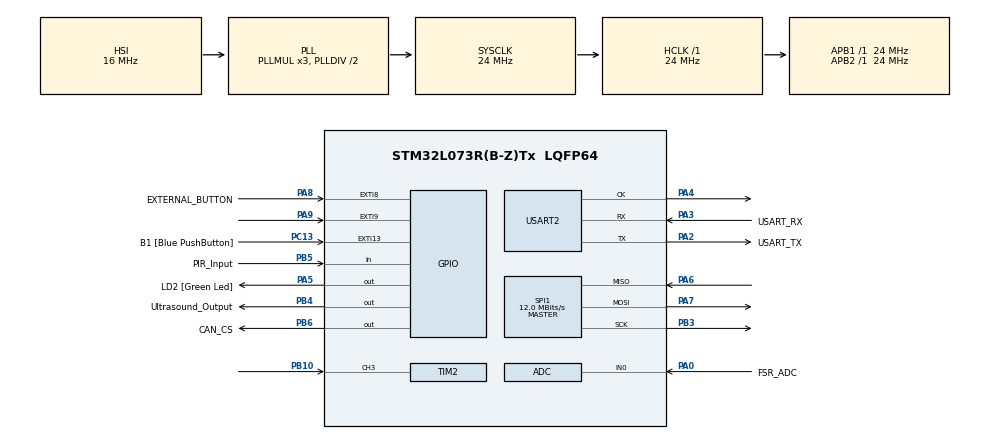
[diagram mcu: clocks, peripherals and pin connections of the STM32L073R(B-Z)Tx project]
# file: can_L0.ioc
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Mcu.Family=STM32L0
Mcu.Name=STM32L073R(B-Z)Tx
Mcu.Package=LQFP64
NVIC.EXTI4_15_IRQn=true\:0\:0\:false\:false\:true\:true\:true\:true
NVIC.TIM2_IRQn=true\:0\:0\:false\:false\:true\:true\:true\:true
NVIC.TIM3_IRQn=true\:0\:0\:false\:false\:true\:true\:true\:true
PA0.GPIO_Label=FSR_ADC
PA0.Mode=IN0
PA0.Signal=ADC_IN0
PA13.GPIO_Label=TMS
PA13.Mode=Serial_Wire
PA13.Signal=SYS_SWDIO
PA14.GPIO_Label=TCK
PA14.Mode=Serial_Wire
PA14.Signal=SYS_SWCLK
PA2.GPIO_Label=USART_TX
PA2.Mode=Synchronous
PA2.Signal=USART2_TX
PA3.GPIO_Label=USART_RX
PA3.Mode=Synchronous
PA3.Signal=USART2_RX
PA4.Mode=Synchronous
PA4.Signal=USART2_CK
PA5.GPIO_Label=LD2 [Green Led]
PA5.Signal=GPIO_Output
PA6.Mode=Full_Duplex_Master
PA6.Signal=SPI1_MISO
PA7.Mode=Full_Duplex_Master
PA7.Signal=SPI1_MOSI
PA8.GPIO_Label=EXTERNAL_BUTTON
PA8.GPIO_ModeDefaultEXTI=GPIO_MODE_IT_FALLING
PA8.GPIO_PuPd=GPIO_PULLUP
PA8.Signal=GPXTI8
PA9.Signal=GPXTI9
PB10.Signal=S_TIM2_CH3
PB3.Mode=Full_Duplex_Master
PB3.Signal=SPI1_SCK
PB4.GPIO_Label=Ultrasound_Output
PB4.Signal=GPIO_Output
PB5.GPIO_Label=PIR_Input
PB5.Signal=GPIO_Input
PB6.GPIO_Label=CAN_CS
PB6.GPIO_Speed=GPIO_SPEED_FREQ_MEDIUM
PB6.PinState=GPIO_PIN_SET
PB6.Signal=GPIO_Output
PC13.GPIO_Label=B1 [Blue PushButton]
PC13.GPIO_ModeDefaultEXTI=GPIO_MODE_IT_FALLING
PC13.Signal=GPXTI13
PC14-OSC32_IN.Mode=LSE-External-Oscillator
PC14-OSC32_IN.Signal=RCC_OSC32_IN
PC15-OSC32_OUT.Mode=LSE-External-Oscillator
PC15-OSC32_OUT.Signal=RCC_OSC32_OUT
PH0-OSC_IN.GPIO_Label=MCO
PH0-OSC_IN.Mode=HSE-External-Clock-Source
PH0-OSC_IN.Signal=RCC_OSC_IN
ProjectManager.HeapSize=0x200
ProjectManager.StackSize=0x400
ProjectManager.TargetToolchain=MDK-ARM V5.32
RCC.AHBFreq_Value=24000000
RCC.APB1Freq_Value=24000000
RCC.APB1TimFreq_Value=24000000
RCC.APB2Freq_Value=24000000
RCC.APB2TimFreq_Value=24000000
RCC.HCLKFreq_Value=24000000
RCC.HSE_VALUE=8000000
RCC.HSI16_VALUE=16000000
RCC.HSI48_VALUE=48000000
RCC.HSI_VALUE=16000000
RCC.MSI_VALUE=2097000
RCC.SYSCLKFreq_VALUE=24000000
RCC.SYSCLKSource=RCC_SYSCLKSOURCE_PLLCLK
RCC.VCOOutputFreq_Value=48000000
SH.S_TIM2_CH3.0=TIM2_CH3,Input_Capture3_from_TI3
SPI1.CalculateBaudRate=12.0 MBits/s
SPI1.Direction=SPI_DIRECTION_2LINES
SPI1.Mode=SPI_MODE_MASTER
SPI1.VirtualType=VM_MASTER
TIM2.Channel-Input_Capture3_from_TI3=TIM_CHANNEL_3
TIM2.Prescaler=8-1
TIM3.Period=1000-1
TIM3.Prescaler=24000-1
USART2.VirtualMode-Synchronous=VM_SYNC
VP_TIM2_VS_ClockSourceINT.Mode=Internal
VP_TIM3_VS_ClockSourceINT.Mode=Internal
board=NUCLEO-L073RZ

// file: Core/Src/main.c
/* USER CODE BEGIN Header */
/**
  ******************************************************************************
  * @file           : main.c
  * @brief          : Main program body
  ******************************************************************************
  * @attention
  *
  * Copyright (c) 2025 STMicroelectronics.
  * All rights reserved.
  *
  * This software is licensed under terms that can be found in the LICENSE file
  * in the root directory of this software component.
  * If no LICENSE file comes with this software, it is provided AS-IS.
  *
  ******************************************************************************
  */
/* USER CODE END Header */
#include "main.h"
#include "adc.h"
#include "spi.h"
#include "tim.h"
#include "usart.h"
#include "gpio.h"

/* USER CODE BEGIN Includes */
#include "CANSPI.h"
#include "MCP2515.h"
#include "stdio.h"
#include "string.h"
/* USER CODE END Includes */

/* USER CODE BEGIN PV */

volatile uCAN_MSG rxMessage;
extern ADC_HandleTypeDef hadc;
volatile float Vout;

volatile static uint32_t dDist = 0;

volatile uint8_t DistanceReady = 0;
volatile uint16_t no_activity_counter = 0;
volatile uint8_t tim3_flag = 0;

volatile uint8_t driving_mode = 1; // driving mode
/* USER CODE END PV */

void SystemClock_Config(void);
/* USER CODE BEGIN PFP */
void delay (uint16_t time);
void HAL_TIM_IC_CaptureCallback(TIM_HandleTypeDef *htim);
void HCSR04_Read(void);
uint8_t FSR_Check (void);
uint8_t Ultrasonic_Check(void);
void check_and_send(void);
void send_sleep_message(void);
void send_wakeup_message(void);
void enter_sleep_mode(void);
/* USER CODE END PFP */

/* USER CODE BEGIN 0 */
void HAL_GPIO_EXTI_Callback(uint16_t GPIO_Pin)
{
	 if (GPIO_Pin == EXTERNAL_BUTTON_Pin)  // external button
    {
				HAL_GPIO_TogglePin(GPIOA, GPIO_PIN_5);
			  send_sleep_message();
				driving_mode = 0; // car poweroff
    }
}
uint32_t cnt2 = 0;
/* USER CODE END 0 */

int main(void)
{

  /* MCU Configuration--------------------------------------------------------*/

  /* Reset of all peripherals, Initializes the Flash interface and the Systick. */
  HAL_Init();

  /* Configure the system clock */
  SystemClock_Config();

  /* Initialize all configured peripherals */
  MX_GPIO_Init();
  MX_SPI1_Init();
  MX_USART2_Init();
  MX_ADC_Init();
  MX_TIM2_Init();
  MX_TIM3_Init();
  /* USER CODE BEGIN 2 */
  CANSPI_Initialize();
	HAL_TIM_IC_Start_IT(&htim2, TIM_CHANNEL_3);
  HAL_TIM_Base_Start_IT(&htim3);
	__HAL_TIM_DISABLE_IT(&htim2, TIM_IT_CC3);
  /* USER CODE END 2 */

  /* Infinite loop */
  /* USER CODE BEGIN WHILE */
	HCSR04_Read();
  while (1) {
    if (driving_mode == 0 && tim3_flag) {
      tim3_flag = 0;
      check_and_send();
    }
  }
    /* USER CODE END WHILE */

}

void SystemClock_Config(void)
{
  RCC_OscInitTypeDef RCC_OscInitStruct = {0};
  RCC_ClkInitTypeDef RCC_ClkInitStruct = {0};
  RCC_PeriphCLKInitTypeDef PeriphClkInit = {0};

  /** Configure the main internal regulator output voltage
  */
  __HAL_PWR_VOLTAGESCALING_CONFIG(PWR_REGULATOR_VOLTAGE_SCALE1);

  /** Initializes the RCC Oscillators according to the specified parameters
  * in the RCC_OscInitTypeDef structure.
  */
  RCC_OscInitStruct.OscillatorType = RCC_OSCILLATORTYPE_HSI;
  RCC_OscInitStruct.HSIState = RCC_HSI_ON;
  RCC_OscInitStruct.HSICalibrationValue = RCC_HSICALIBRATION_DEFAULT;
  RCC_OscInitStruct.PLL.PLLState = RCC_PLL_ON;
  RCC_OscInitStruct.PLL.PLLSource = RCC_PLLSOURCE_HSI;
  RCC_OscInitStruct.PLL.PLLMUL = RCC_PLLMUL_3;
  RCC_OscInitStruct.PLL.PLLDIV = RCC_PLLDIV_2;
  if (HAL_RCC_OscConfig(&RCC_OscInitStruct) != HAL_OK)
  {
    Error_Handler();
  }

  /** Initializes the CPU, AHB and APB buses clocks
  */
  RCC_ClkInitStruct.ClockType = RCC_CLOCKTYPE_HCLK|RCC_CLOCKTYPE_SYSCLK
                              |RCC_CLOCKTYPE_PCLK1|RCC_CLOCKTYPE_PCLK2;
  RCC_ClkInitStruct.SYSCLKSource = RCC_SYSCLKSOURCE_PLLCLK;
  RCC_ClkInitStruct.AHBCLKDivider = RCC_SYSCLK_DIV1;
  RCC_ClkInitStruct.APB1CLKDivider = RCC_HCLK_DIV1;
  RCC_ClkInitStruct.APB2CLKDivider = RCC_HCLK_DIV1;

  if (HAL_RCC_ClockConfig(&RCC_ClkInitStruct, FLASH_LATENCY_1) != HAL_OK)
  {
    Error_Handler();
  }
  PeriphClkInit.PeriphClockSelection = RCC_PERIPHCLK_USART2;
  PeriphClkInit.Usart2ClockSelection = RCC_USART2CLKSOURCE_PCLK1;
  if (HAL_RCCEx_PeriphCLKConfig(&PeriphClkInit) != HAL_OK)
  {
    Error_Handler();
  }
}

/* USER CODE BEGIN 4 */
void delay (uint16_t time)
{
    __HAL_TIM_SET_COUNTER(&htim2, 0);
    while (__HAL_TIM_GET_COUNTER (&htim2) < time);
}

void HAL_TIM_PeriodElapsedCallback(TIM_HandleTypeDef *htim)
{
  if(htim->Instance == htim3.Instance){
    tim3_flag= 1;
  }
}
volatile static float Distance  = 0;
void HAL_TIM_IC_CaptureCallback(TIM_HandleTypeDef *htim) // 초음파 센서 거리 계산 비동기 로직
{ // INT when detected Ultrasound sig
		volatile static uint32_t IC_Val1 = 0;
		volatile static uint32_t IC_Val2 = 0;
		volatile static uint8_t Is_First_Captured = 0;  // is the first value captured
		static uint32_t prevDiff = 0;
		volatile static uint32_t currDiff = 0;

    if (htim->Channel == HAL_TIM_ACTIVE_CHANNEL_3)  // if the interrupt source is channel1
    {
        if (Is_First_Captured==0) // if the first value is not captured
        {
            IC_Val1 = HAL_TIM_ReadCapturedValue(htim, TIM_CHANNEL_3); // read the first value
            Is_First_Captured = 1;
            __HAL_TIM_SET_CAPTUREPOLARITY(htim, TIM_CHANNEL_3, TIM_INPUTCHANNELPOLARITY_FALLING);
        }
        else if (Is_First_Captured==1)   // if the first is already captured
        {
            IC_Val2 = HAL_TIM_ReadCapturedValue(htim, TIM_CHANNEL_3);  // read second value
            __HAL_TIM_SET_COUNTER(htim, 0);  // reset the counter

            if (IC_Val2 > IC_Val1)
            {
                currDiff = IC_Val2-IC_Val1;
            }
            else if (IC_Val1 > IC_Val2)
            {
                currDiff = (0xffff - IC_Val1) + IC_Val2;
            }

						dDist = (prevDiff > currDiff) ? (prevDiff - currDiff) : (currDiff - prevDiff);

						prevDiff = currDiff;
            Distance = ((currDiff * 340)/1000)/2;

            DistanceReady = 1;
            Is_First_Captured = 0;

            __HAL_TIM_SET_CAPTUREPOLARITY(htim, TIM_CHANNEL_3, TIM_INPUTCHANNELPOLARITY_RISING);
            __HAL_TIM_DISABLE_IT(&htim2, TIM_IT_CC3);
        }
    }
}

void send_sleep_message(void)
{
		uCAN_MSG txMessage;
    txMessage.frame.idType = dSTANDARD_CAN_MSG_ID_2_0B;
    txMessage.frame.id = 0x2; // sleep message id = 2
    txMessage.frame.dlc = 8;
    txMessage.frame.data0 = 's';
    txMessage.frame.data1 = 'l';
    txMessage.frame.data2 = 'e';
    txMessage.frame.data3 = 'e';
    txMessage.frame.data4 = 'p';
    txMessage.frame.data5 = 0;
    txMessage.frame.data6 = 0;
    txMessage.frame.data7 = 0;

    CANSPI_Transmit(&txMessage);
    HAL_GPIO_TogglePin(GPIOA, GPIO_PIN_5);
}

void send_wakeup_message(void)
{
		uCAN_MSG txMessage;
    txMessage.frame.idType = dSTANDARD_CAN_MSG_ID_2_0B;
    txMessage.frame.id = 0x1; // wakeup message id = 1
    txMessage.frame.dlc = 8;
    txMessage.frame.data0 = 'W';
    txMessage.frame.data1 = 'A';
    txMessage.frame.data2 = 'K';
    txMessage.frame.data3 = 'E';
    txMessage.frame.data4 = 0;
    txMessage.frame.data5 = 0;
    txMessage.frame.data6 = 0;
    txMessage.frame.data7 = 0;

    CANSPI_Transmit(&txMessage);
    HAL_GPIO_TogglePin(GPIOA, GPIO_PIN_5);
}

void enter_sleep_mode(void)
{
  HAL_SuspendTick();
  HAL_PWR_EnterSLEEPMode(PWR_MAINREGULATOR_ON, PWR_SLEEPENTRY_WFI);
  HAL_ResumeTick();
}

void HCSR04_Read(void)
{
	HAL_GPIO_WritePin(GPIOB,GPIO_PIN_4,GPIO_PIN_SET);
	delay(10);
	HAL_GPIO_WritePin(GPIOB,GPIO_PIN_4,GPIO_PIN_RESET);

	__HAL_TIM_ENABLE_IT(&htim2, TIM_IT_CC3);
}

uint8_t Ultrasonic_Check(void) {
  DistanceReady = 0;
  HCSR04_Read();
  uint32_t timeout = 0;
  while (!DistanceReady && timeout < 60) {
		delay(1000);
		timeout++;
  }

  return (dDist > 0x30) ? 1 : 0;
}

uint8_t PIR_Check(void) {
  GPIO_PinState state = HAL_GPIO_ReadPin(GPIOB, GPIO_PIN_5);  // PIR 센서 핀
  return (state == GPIO_PIN_SET) ? 1 : 0;
}

uint8_t FSR_Check(void){
	uint32_t adcValue;
	HAL_ADC_Start(&hadc);
	HAL_ADC_PollForConversion(&hadc, 1000);
	adcValue = HAL_ADC_GetValue(&hadc); // ADC
	HAL_ADC_Stop(&hadc);

	Vout = (adcValue / 4095.0f) * 5.0f;    // VOUT  (5V )
  return (Vout > 1.0f) ? 1 : 0;
}
uint8_t pir;
void check_and_send(void) {
	uint8_t ultrasonic = Ultrasonic_Check();

  uint8_t fsr = FSR_Check();
  pir = PIR_Check();
  uint8_t result = fsr && (pir && ultrasonic); // Sensor Logic

	// result accumulated stores last 3 results
	static uint8_t result_accumulated = 0;

	static uint8_t cnt_1s = 0; // cnt_1s counts for 3 second.
	static uint8_t sleep_message_sent = 0; // sleep message sent -> sleeps all other ECUs
	static uint8_t wake_message_sent = 0;
	cnt_1s++;
	// stores result to result_accumulated
	result_accumulated |= result;
	// no_activity_counter counts for N seconds
	no_activity_counter++;

	// if 3 seconds
	if (cnt_1s == 3)
	{
		if (result_accumulated)
		{
//			if(wake_message_sent == 0)
			{ // wake only once
				wake_message_sent = 1;
				send_wakeup_message();
			}
      no_activity_counter = 0;
			result_accumulated = 0;
			sleep_message_sent = 0;
		}
		cnt_1s = 0;
	}

	// if CANT find child in 30seconds -> send sleep message to All other ECUs
  if (no_activity_counter >= 60 && sleep_message_sent == 0) {
		// sleep message send
	  send_sleep_message();
    no_activity_counter = 0;
		sleep_message_sent = 1;
    //enter_sleep_mode();
  }
}

/* USER CODE END 4 */

void Error_Handler(void)
{
  __disable_irq();
  while (1)
  {
  }
}
